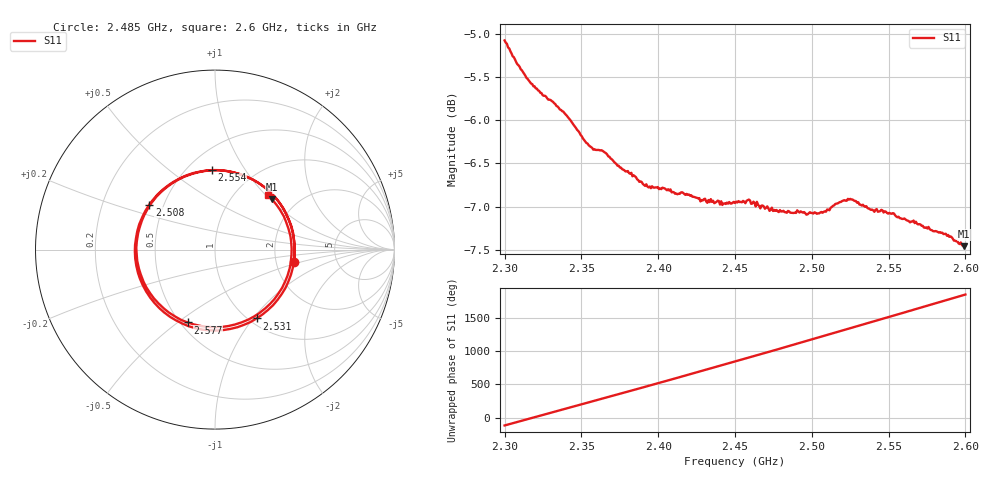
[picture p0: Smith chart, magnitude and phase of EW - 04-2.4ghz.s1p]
! NanoVNA-App
! Date: 2026-05-22 16:01:34
! Start: 2.3GHz Stop: 2.6GHz Points: 401
! S-Parameter data: F S11
# Hz S RI R 50
!  Frequency  S11_Real  S11_Imag
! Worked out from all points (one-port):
!   401 points, 2.3 GHz to 2.6 GHz, reference 50 ohm
!   lowest |S11| = -7.5 dB at 2.599 GHz (marker M1), VSWR 2.47, Z = 75.6 + j51.5 ohm
!   |S11| at or under -10 dB: nowhere
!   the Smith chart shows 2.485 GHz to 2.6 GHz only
!   S11 on the Smith chart (normalised r, x): 2.485 GHz: 2.51, -0.44; 2.508 GHz: 0.42, +0.26; 2.531 GHz: 1.08, -1.04; 2.554 GHz: 0.65, +0.72; 2.577 GHz: 0.54, -0.54; 2.6 GHz: 1.39, +1.03
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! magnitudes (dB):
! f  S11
! 2.3 GHz  -5.1
! 2.316 GHz  -5.5
! 2.337 GHz  -5.9
! 2.354 GHz  -6.3
! 2.358 GHz  -6.3
! 2.365 GHz  -6.4
! 2.375 GHz  -6.5
! 2.392 GHz  -6.7
! 2.404 GHz  -6.8
! 2.413 GHz  -6.9
! 2.416 GHz  -6.8
! 2.442 GHz  -7.0
! 2.45 GHz  -7.0
! 2.459 GHz  -6.9
! 2.473 GHz  -7.0
! 2.485 GHz  -7.0
! 2.487 GHz  -7.1
! 2.508 GHz  -7.1
! 2.517 GHz  -7.0
! 2.525 GHz  -6.9
! 2.531 GHz  -7.0
! 2.539 GHz  -7.0
! 2.554 GHz  -7.1
! 2.562 GHz  -7.2
! 2.577 GHz  -7.3
! 2.589 GHz  -7.3
! 2.599 GHz  -7.5
! 2.6 GHz  -7.4
